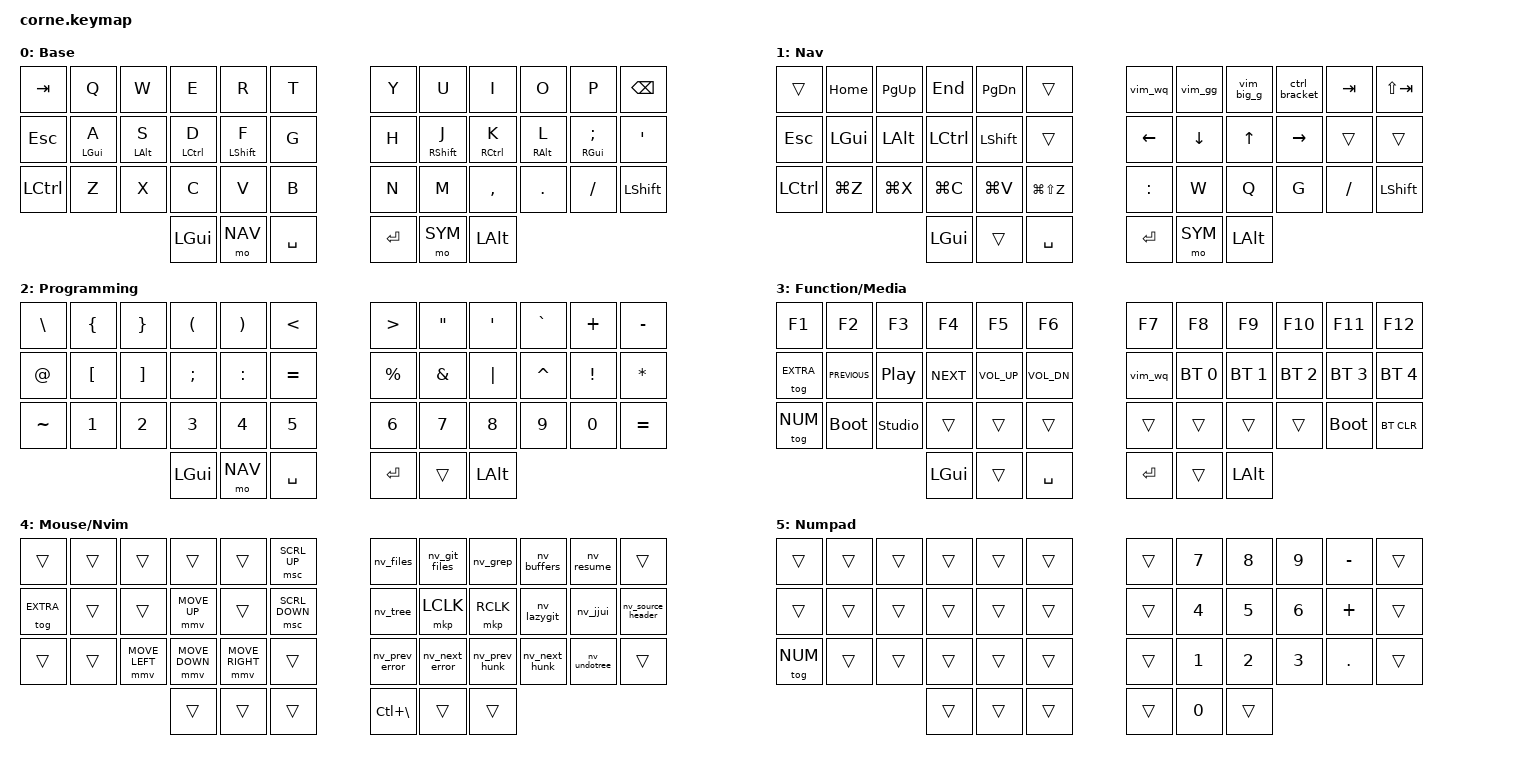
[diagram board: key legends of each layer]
#include <behaviors.dtsi>
#include <dt-bindings/zmk/bt.h>
#include <dt-bindings/zmk/keys.h>
#include <dt-bindings/zmk/pointing.h>

#define DEF 0
#define NAV 1
#define SYM 2
#define ADJ 3
#define EXTRA 4
#define NUM 5

#define KEYS_L 0 1 2 3 4 5 12 13 14 15 16 17 24 25 26 27 28 29
#define KEYS_R 6 7 8 9 10 11 18 19 20 21 22 23 30 31 32 33 34 35
#define THUMBS 36 37 38 39 40 41

#define COMBO_TIMING timeout-ms = <40>; require-prior-idle-ms = <150>;

#define TAP_MACRO(name, keys) \
    name: name { compatible = "zmk,behavior-macro"; #binding-cells = <0>; bindings = <&macro_tap keys>; };

/ {
    behaviors {
        // A mod only activates when the next key is on the opposite hand or a thumb.
        hml: homerow_mods_left {
            compatible = "zmk,behavior-hold-tap";
            #binding-cells = <2>;
            flavor = "balanced";
            tapping-term-ms = <280>;
            quick-tap-ms = <175>;
            require-prior-idle-ms = <150>;
            bindings = <&kp>, <&kp>;
            hold-trigger-key-positions = <KEYS_R THUMBS>;
            hold-trigger-on-release;
        };

        hmr: homerow_mods_right {
            compatible = "zmk,behavior-hold-tap";
            #binding-cells = <2>;
            flavor = "balanced";
            tapping-term-ms = <280>;
            quick-tap-ms = <175>;
            require-prior-idle-ms = <150>;
            bindings = <&kp>, <&kp>;
            hold-trigger-key-positions = <KEYS_L THUMBS>;
            hold-trigger-on-release;
        };

        para: para {
            compatible = "zmk,behavior-tap-dance";
            #binding-cells = <0>;
            bindings = <&kp LEFT_PARENTHESIS>, <&kp RIGHT_PARENTHESIS>;
        };

        caps: caps {
            compatible = "zmk,behavior-caps-word";
            #binding-cells = <0>;
            continue-list = <MINUS BACKSPACE>;
        };

        paraless: paraless {
            compatible = "zmk,behavior-mod-morph";
            bindings = <&kp LEFT_PARENTHESIS>, <&kp LESS_THAN>;

            #binding-cells = <0>;
            mods = <(MOD_LSFT)>;
        };

        paragreat: paragreat {
            compatible = "zmk,behavior-mod-morph";
            bindings = <&kp RIGHT_PARENTHESIS>, <&kp GREATER_THAN>;

            #binding-cells = <0>;
            mods = <(MOD_LSFT)>;
        };
    };

    macros {
        browsertab: browsertab {
            compatible = "zmk,behavior-macro";
            #binding-cells = <0>;
            bindings =
                <&macro_press>,
                <&kp LCTRL>,
                <&macro_tap>,
                <&kp TAB>,
                <&macro_release>,
                <&kp LCTRL>;
        };

        ctrl_bracket: ctrl_bracket {
            compatible = "zmk,behavior-macro";
            #binding-cells = <0>;
            bindings =
                <&macro_press>,
                <&kp LCTRL>,
                <&macro_tap>,
                <&kp LEFT_BRACKET>,
                <&macro_release>,
                <&kp LCTRL>;
        };

        vim_wq: vim_wq {
            compatible = "zmk,behavior-macro";
            #binding-cells = <0>;
            bindings =
                <&macro_tap>,
                <&kp COLON>,
                <&macro_tap>,
                <&kp W>,
                <&macro_tap>,
                <&kp Q>,
                <&macro_tap>,
                <&kp RET>;
        };

        vim_gg: vim_gg {
            compatible = "zmk,behavior-macro";
            #binding-cells = <0>;
            bindings = <&macro_tap>, <&kp G>, <&macro_tap>, <&kp G>;
        };

        vim_big_g: vim_big_g {
            compatible = "zmk,behavior-macro";
            #binding-cells = <0>;
            bindings = <&macro_tap>, <&kp LS(G)>;
        };

        // Neovim leader (Space) sequences; they only act in normal mode.
        TAP_MACRO(nv_files, &kp SPACE &kp F &kp F)
        TAP_MACRO(nv_git_files, &kp SPACE &kp P &kp F)
        TAP_MACRO(nv_grep, &kp SPACE &kp A &kp G)
        TAP_MACRO(nv_buffers, &kp SPACE &kp B)
        TAP_MACRO(nv_resume, &kp SPACE &kp M &kp R)
        TAP_MACRO(nv_tree, &kp SPACE &kp E)
        TAP_MACRO(nv_lazygit, &kp SPACE &kp G &kp G)
        TAP_MACRO(nv_jjui, &kp SPACE &kp G &kp J)
        TAP_MACRO(nv_undotree, &kp SPACE &kp U &kp T)
        TAP_MACRO(nv_prev_error, &kp LEFT_BRACKET &kp E)
        TAP_MACRO(nv_next_error, &kp RIGHT_BRACKET &kp E)
        TAP_MACRO(nv_prev_hunk, &kp LEFT_BRACKET &kp C)
        TAP_MACRO(nv_next_hunk, &kp RIGHT_BRACKET &kp C)
        TAP_MACRO(nv_source_header, &kp RIGHT_BRACKET &kp H)
    };

    conditional_layers {
        compatible = "zmk,conditional-layers";

        tri_layer {
            if-layers = <NAV SYM>;
            then-layer = <ADJ>;
        };
    };

    combos {
        compatible = "zmk,combos";

        delete {
            bindings = <&kp DELETE>;
            key-positions = <15 21>;
            COMBO_TIMING
        };

        perc {
            bindings = <&kp PERCENT>;
            key-positions = <5 17>;
            COMBO_TIMING
            layers = <0>;
        };

        equal {
            bindings = <&kp EQUAL>;
            key-positions = <28 16>;
            COMBO_TIMING
            layers = <0>;
        };

        dollar {
            bindings = <&kp DOLLAR>;
            key-positions = <4 16>;
            COMBO_TIMING
            layers = <0>;
        };

        pound {
            bindings = <&kp POUND>;
            key-positions = <3 15>;
            COMBO_TIMING
            layers = <0>;
        };

        at {
            bindings = <&kp AT>;
            key-positions = <2 14>;
            COMBO_TIMING
            layers = <0>;
        };

        backslash {
            bindings = <&kp BACKSLASH>;
            key-positions = <26 14>;
            COMBO_TIMING
            layers = <0>;
        };

        star {
            bindings = <&kp STAR>;
            key-positions = <8 20>;
            COMBO_TIMING
            layers = <0>;
        };

        slash {
            bindings = <&kp SLASH>;
            key-positions = <32 20>;
            COMBO_TIMING
            layers = <0>;
        };

        plus {
            bindings = <&kp PLUS>;
            key-positions = <7 19>;
            COMBO_TIMING
            layers = <0>;
        };

        minus {
            bindings = <&kp MINUS>;
            key-positions = <31 19>;
            COMBO_TIMING
            layers = <0>;
        };

        underscore {
            bindings = <&kp UNDER>;
            key-positions = <30 18>;
            COMBO_TIMING
            layers = <0>;
        };

        leftbrack {
            bindings = <&kp LEFT_BRACKET>;
            key-positions = <31 32>;
            COMBO_TIMING
            layers = <0>;
        };

        rightbrack {
            bindings = <&kp RIGHT_BRACKET>;
            key-positions = <33 32>;
            COMBO_TIMING
            layers = <0>;
        };

        extra_layer {
            bindings = <&mo EXTRA>;
            key-positions = <36 37>;
        };

        para-less {
            bindings = <&paraless>;
            key-positions = <20 19>;
            COMBO_TIMING
            layers = <0>;
        };
    };

    keymap {
        compatible = "zmk,keymap";

        DEF {
            display-name = "Base";

            // -----------------------------------------------------------------------------------------
            // | TAB  |  Q   |  W   |  E   |  R   |  T  |   |  Y  |  U   |  I   |  O   |  P   | BKSP |
            // | ESC  | A/GUI| S/ALT| D/CTL| F/SFT|  G  |   |  H  | J/SFT| K/CTL| L/ALT| ;/GUI|  '   |
            // | CTRL |  Z   |  X   |  C   |  V   |  B  |   |  N  |  M   |  ,   |  .   |  /   | SHFT |
            //                      | GUI  | NAV  | SPC |   | ENT | SYM  | ALT  |

            bindings = <
&kp TAB     &kp Q  &kp W  &kp E     &kp R    &kp T        &kp Y    &kp U    &kp I         &kp O    &kp P     &kp BACKSPACE
&kp ESCAPE  &hml LGUI A  &hml LALT S  &hml LCTRL D  &hml LSHFT F  &kp G        &kp H    &hmr RSHFT J  &hmr RCTRL K  &hmr RALT L  &hmr RGUI SEMI  &kp SQT
&kp LCTRL   &kp Z  &kp X  &kp C     &kp V    &kp B        &kp N    &kp M    &kp COMMA     &kp DOT  &kp FSLH  &kp LSHFT
                          &kp LGUI  &mo NAV  &kp SPACE    &kp RET  &mo SYM  &kp LEFT_ALT
            >;
        };

        NAV {
            display-name = "Nav";

            // -----------------------------------------------------------------------------------------
            // |      | Home | PgUp | End  | PgDn |      |   | :wq  | gg   | G  | Ctrl+[ | Tab | S-Tab |
            // | ESC  | GUI  | ALT  | CTRL | SHFT |      |   | LEFT | DOWN | UP | RIGHT  |     |       |
            // | CTRL | Undo | Cut  | Copy | Paste| Redo |   |  :   |  w   | q  |  g     |  /  | SHFT  |
            //                      | GUI  | ---- | SPC  |   | ENT  | SYM  | ALT |

            bindings = <
&trans      &kp HOME  &kp PAGE_UP  &kp END   &kp PAGE_DOWN  &trans       &vim_wq    &vim_gg   &vim_big_g    &ctrl_bracket  &kp TAB   &kp LS(TAB)
&kp ESCAPE  &kp LGUI  &kp LALT     &kp LCTRL &kp LSHFT      &trans       &kp LEFT   &kp DOWN  &kp UP        &kp RIGHT      &trans    &trans
&kp LCTRL   &kp LG(Z) &kp LG(X)    &kp LG(C) &kp LG(V)      &kp LG(LS(Z))  &kp COLON  &kp W     &kp Q         &kp G          &kp FSLH  &kp LSHFT
                                   &kp LGUI  &trans         &kp SPACE    &kp RET    &mo SYM   &kp LEFT_ALT
            >;
        };

        SYM {
            display-name = "Programming";

            // -----------------------------------------------------------------------------------------
            // |  \  |  {  |  }  |  (  |  )  |  <  |   |  >  |  "  |  '  |  `  |  +  |  -  |
            // |  @  |  [  |  ]  |  ;  |  :  |  =  |   |  %  |  &  |  |  |  ^  |  !  |  *  |
            // |  ~  |  1  |  2  |  3  |  4  |  5  |   |  6  |  7  |  8  |  9  |  0  |  =  |
            //                   | GUI | NAV | SPC |   | ENT | --- | ALT |

            bindings = <
&kp BACKSLASH  &kp LEFT_BRACE    &kp RIGHT_BRACE    &kp LEFT_PARENTHESIS  &kp RIGHT_PARENTHESIS  &kp LESS_THAN    &kp GREATER_THAN  &kp DOUBLE_QUOTES  &kp SINGLE_QUOTE  &kp GRAVE  &kp PLUS  &kp MINUS
&kp AT         &kp LEFT_BRACKET  &kp RIGHT_BRACKET  &kp SEMICOLON         &kp COLON              &kp EQUAL        &kp PERCENT       &kp AMPS           &kp PIPE          &kp CARET  &kp EXCL  &kp STAR
&kp TILDE      &kp N1            &kp N2             &kp N3                &kp N4                 &kp N5           &kp N6            &kp N7             &kp N8            &kp N9     &kp N0    &kp EQUAL
                                                    &kp LGUI              &mo NAV                &kp SPACE        &kp RET           &trans             &kp LEFT_ALT
            >;
        };

        ADJ {
            display-name = "Function/Media";

            // Reached by holding NAV + SYM.
            // | F1    | F2   | F3     | F4   | F5   | F6   |   | F7  | F8  | F9  | F10 | F11  | F12      |
            // | Mouse⇄| Prev | Play   | Next | Vol+ | Vol- |   | :wq | BT1 | BT2 | BT3 | BT4  | BT5      |
            // | Num⇄  | Boot | Studio |      |      |      |   |     |     |     |     | Boot | BT clear |
            //                         | GUI  | ---  | SPC  |   | ENT | --- | ALT |

            bindings = <
&kp F1  &kp F2          &kp F3            &kp F4      &kp F5        &kp F6          &kp F7   &kp F8  &kp F9        &kp F10  &kp F11      &kp F12
&tog EXTRA  &kp C_PREVIOUS  &kp C_PLAY_PAUSE  &kp C_NEXT  &kp C_VOL_UP  &kp C_VOL_DN    &vim_wq  &bt BT_SEL 0  &bt BT_SEL 1  &bt BT_SEL 2  &bt BT_SEL 3  &bt BT_SEL 4
&tog NUM    &bootloader     &studio_unlock    &trans      &trans        &trans          &trans   &trans  &trans        &trans   &bootloader  &bt BT_CLR
                                          &kp LGUI    &trans        &kp SPACE       &kp RET  &trans  &kp LEFT_ALT
            >;
        };

        EXTRA {
            display-name = "Mouse/Nvim";

            // Hold both left thumbs (GUI + NAV), or toggle from ADJ. Nvim keys send Space-leader sequences.
            // |      |  |    |   |     | Scrl↑ |   | Files | GitFiles | Grep   | Buffers | Resume   |  |
            // | Exit |  |    | M↑ |    | Scrl↓ |   | Tree  | LClick   | RClick | LazyGit | jjui     | ]h (src/hdr) |
            // |      |  | M← | M↓ | M→ |       |   | [e    | ]e       | [c     | ]c      | Undotree |  |
            //                |    | ---| ---   |   | FloatTerm (Ctrl+\) |  |  |

            bindings = <
&trans      &trans  &trans          &trans          &trans           &msc SCRL_UP      &nv_files       &nv_git_files   &nv_grep       &nv_buffers     &nv_resume    &trans
&tog EXTRA  &trans  &trans          &mmv MOVE_UP    &trans           &msc SCRL_DOWN    &nv_tree        &mkp LCLK       &mkp RCLK      &nv_lazygit     &nv_jjui      &nv_source_header
&trans      &trans  &mmv MOVE_LEFT  &mmv MOVE_DOWN  &mmv MOVE_RIGHT  &trans            &nv_prev_error  &nv_next_error  &nv_prev_hunk  &nv_next_hunk   &nv_undotree  &trans
                                    &trans          &trans           &trans            &kp LC(BSLH)    &trans          &trans
            >;
        };

        NUM {
            display-name = "Numpad";

            // Toggled from ADJ; tap the bottom-left key again to exit.
            // |      |  |  |  |  |  |   |  | 7 | 8 | 9 | - |  |
            // |      |  |  |  |  |  |   |  | 4 | 5 | 6 | + |  |
            // | Exit |  |  |  |  |  |   |  | 1 | 2 | 3 | . |  |
            //               |  |  |  |   |  | 0 |   |

            bindings = <
&trans    &trans  &trans  &trans  &trans  &trans    &trans  &kp N7  &kp N8  &kp N9  &kp MINUS  &trans
&trans    &trans  &trans  &trans  &trans  &trans    &trans  &kp N4  &kp N5  &kp N6  &kp PLUS   &trans
&tog NUM  &trans  &trans  &trans  &trans  &trans    &trans  &kp N1  &kp N2  &kp N3  &kp DOT    &trans
                          &trans  &trans  &trans    &trans  &kp N0  &trans
            >;
        };
    };
};
